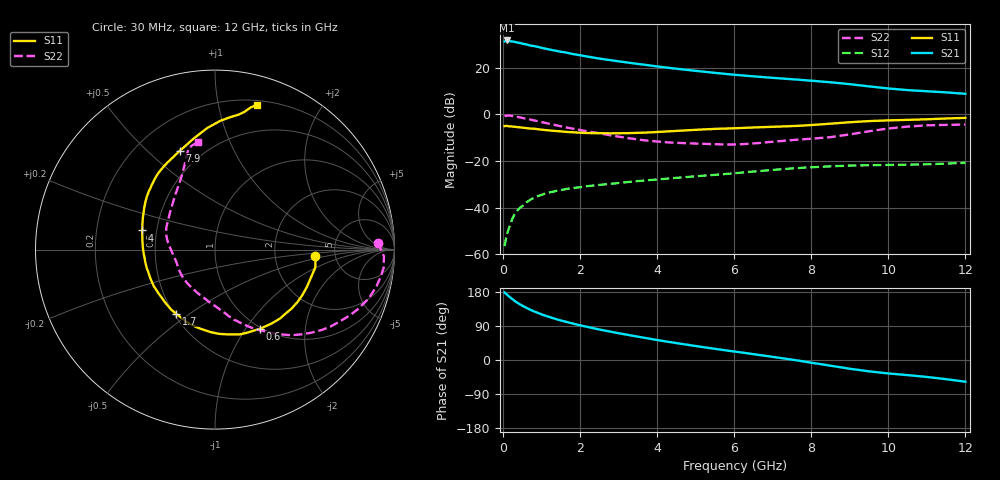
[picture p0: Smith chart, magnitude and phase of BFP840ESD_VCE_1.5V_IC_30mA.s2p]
! Infineon Technologies  Discrete & RF Semiconductors
! BFP840ESD
! VCE =  1.5 V,  IC =  30 mA
! Common Emitter S-Parameters:  May 2012
# GHz  S  MA  R  50
!  f  S11  S21  S12  S22
! GHz  MAG  ANG  MAG  ANG  MAG  ANG  MAG  ANG
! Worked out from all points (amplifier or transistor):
!   93 points, 30 MHz to 12 GHz, reference 50 ohm
!   highest |S21| = 31.7 dB at 80 MHz (marker M1)
!   |S21| within 3 dB of that: start of sweep to 954 MHz
!   unconditionally stable (mu >= 1): 3.761 GHz to 8.329 GHz
!   at 1.1 GHz: K = 0.50, MSG = 31.0 dB, |S12| = -33.9 dB
!   at 4.2 GHz: K = 1.04, MAG = 22.7 dB, |S12| = -27.6 dB
!   at 12 GHz: K = 0.74, MSG = 14.8 dB, |S12| = -20.8 dB
!   S11 on the Smith chart (normalised r, x): 30 MHz: 3.50, -0.39; 600 MHz: 0.98, -1.17; 1.7 GHz: 0.51, -0.44; 4 GHz: 0.41, +0.11; 7.9 GHz: 0.38, +0.63; 12 GHz: 0.24, +1.30
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0.03  0.5606 -3.9  36.56 178.2  0.0015 105.7  0.9076 2.4
0.08  0.5682 -9.9  38.33 173.5  0.0025 71.0  0.9422 -2.3
0.13  0.5567 -16.3  37.09 169.1  0.0034 90.8  0.9448 -6.2
0.23  0.5489 -27.3  36.42 160.7  0.0058 78.5  0.923 -12.6
0.33  0.5386 -37.6  35.09 153.1  0.008 74.8  0.896 -18.0
0.43  0.5282 -46.5  33.86 146.7  0.01 70.6  0.8619 -22.7
0.6  0.5072 -60.5  31.43 137.5  0.0131 66.6  0.8017 -30.0
0.7  0.4965 -68.5  29.79 132.4  0.0149 63.9  0.7726 -33.8
0.8  0.4926 -73.7  29.07 128.1  0.0164 61.9  0.7415 -37.3
1.1  0.4605 -93.0  25.48 116.5  0.0203 55.3  0.6532 -46.7
1.4  0.4378 -108.2  22.74 106.9  0.0232 50.5  0.5774 -54.2
1.7  0.4172 -121.3  20.45 98.8  0.0257 47.5  0.5115 -61.2
2.1  0.4001 -137.7  17.82 89.1  0.0284 44.7  0.4437 -69.1
2.9  0.3942 -164.8  14.01 72.4  0.0332 41.0  0.3434 -83.9
4  0.4196 165.3  10.62 52.7  0.0404 37.7  0.2617 -111.1
4.1  0.4232 163.0  10.39 51.0  0.0411 37.2  0.2577 -113.9
5.1  0.4716 145.1  8.376 35.3  0.0479 33.5  0.2356 -140.9
6.1  0.5077 133.0  6.948 21.0  0.0557 30.0  0.2284 -165.9
7.9  0.5841 109.7  5.346 -5.5  0.073 17.3  0.2972 155.7
8.5  0.632 100.6  4.863 -15.1  0.0771 11.9  0.3255 140.2
10.5  0.7625 80.2  3.311 -39.9  0.0835 -3.8  0.5467 106.8
12  0.8399 73.9  2.756 -57.3  0.0917 -11.5  0.6046 98.9
